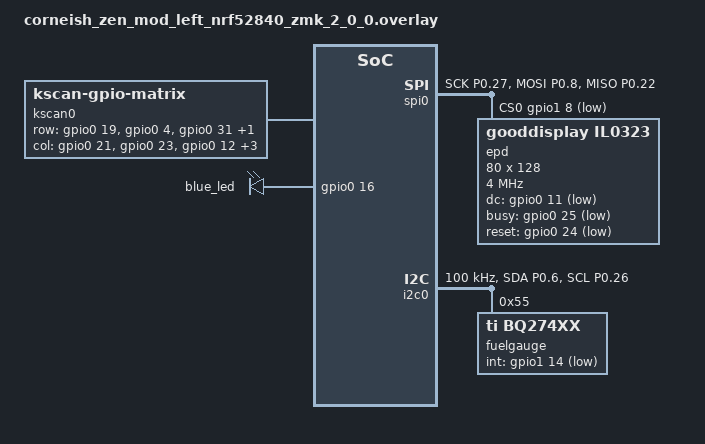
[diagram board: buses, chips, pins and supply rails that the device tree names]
/*
*
* Copyright (c) 2021 Darryl deHaan
* SPDX-License-Identifier: MIT
*
*/

/{
    chosen {
        zephyr,display = &epd;
        zmk,battery = &fuelgauge;
    };

    kscan0: kscan {
        compatible = "zmk,kscan-gpio-matrix";
        wakeup-source;

        diode-direction = "col2row";
        row-gpios
            = <&gpio0 19 (GPIO_ACTIVE_HIGH | GPIO_PULL_DOWN)>
            , <&gpio0  4 (GPIO_ACTIVE_HIGH | GPIO_PULL_DOWN)>
            , <&gpio0 31 (GPIO_ACTIVE_HIGH | GPIO_PULL_DOWN)>
            , <&gpio0 30 (GPIO_ACTIVE_HIGH | GPIO_PULL_DOWN)>
            ;

        col-gpios
            = <&gpio0 21 GPIO_ACTIVE_HIGH>
            , <&gpio0 23 GPIO_ACTIVE_HIGH>
            , <&gpio0 12 GPIO_ACTIVE_HIGH>
            , <&gpio1  9 GPIO_ACTIVE_HIGH>
            , <&gpio0  7 GPIO_ACTIVE_HIGH>
            , <&gpio0  5 GPIO_ACTIVE_HIGH>
            ;
    };

    leds {
        compatible = "gpio-leds";
        blue_led: led_0 {
            gpios = <&gpio0 16 GPIO_ACTIVE_HIGH>;
        };
    };

};

&pinctrl {
    spi0_default: spi0_default {
        group1 {
            psels = <NRF_PSEL(SPIM_SCK, 0, 27)>,
                <NRF_PSEL(SPIM_MOSI, 0, 8)>,
                <NRF_PSEL(SPIM_MISO, 0, 22)>;
        };
    };

    i2c0_default: i2c0_default {
        group1 {
            psels = <NRF_PSEL(TWIM_SDA, 0, 6)>,
                <NRF_PSEL(TWIM_SCL, 0, 26)>;
        };
    };

    i2c0_sleep: i2c0_sleep {
        group1 {
            psels = <NRF_PSEL(TWIM_SDA, 0, 6)>,
                <NRF_PSEL(TWIM_SCL, 0, 26)>;
            low-power-enable;
        };
    };

    spi0_sleep: spi0_sleep {
        group1 {
            psels = <NRF_PSEL(SPIM_SCK, 0, 27)>,
                <NRF_PSEL(SPIM_MOSI, 0, 8)>,
                <NRF_PSEL(SPIM_MISO, 0, 22)>;
            low-power-enable;
        };
    };
};

&spi0 {
    status = "okay";
    compatible = "nordic,nrf-spim";
    pinctrl-0 = <&spi0_default>;
    pinctrl-1 = <&spi0_sleep>;
    pinctrl-names = "default", "sleep";
    cs-gpios = <&gpio1 8 GPIO_ACTIVE_LOW>;

    epd: il0323@0 {
        compatible = "gooddisplay,il0323";
        reg =  <0>;
        width = <80>;
        height = <128>;
        spi-max-frequency = <4000000>;
        dc-gpios = <&gpio0 11 GPIO_ACTIVE_LOW>;
        busy-gpios = <&gpio0 25 GPIO_ACTIVE_LOW>;
        reset-gpios = <&gpio0 24 GPIO_ACTIVE_LOW>;
        pwr = [03 00 26 26];
        cdi = <0xd2>;
        tcon = <0x22>;
    };
};

// BQ27441 / BQ274xx fuel gauge chip — carried over from the V1 Zen
// overlay which used this same chip. The V2 hardware is unclear so
// we're trying this approach after nrf-vddh returned garbage.
&i2c0 {
    status = "okay";
    compatible = "nordic,nrf-twim";
    pinctrl-0 = <&i2c0_default>;
    pinctrl-1 = <&i2c0_sleep>;
    pinctrl-names = "default", "sleep";
    clock-frequency = <100000>;

    fuelgauge: bq274xx@55 {
        compatible = "ti,bq274xx";
        reg = <0x55>;
        design-voltage = <3700>;
        design-capacity = <180>;
        taper-current = <2>;
        terminate-voltage = <2750>;
        int-gpios = <&gpio1 14 GPIO_ACTIVE_LOW>;
    };
};
